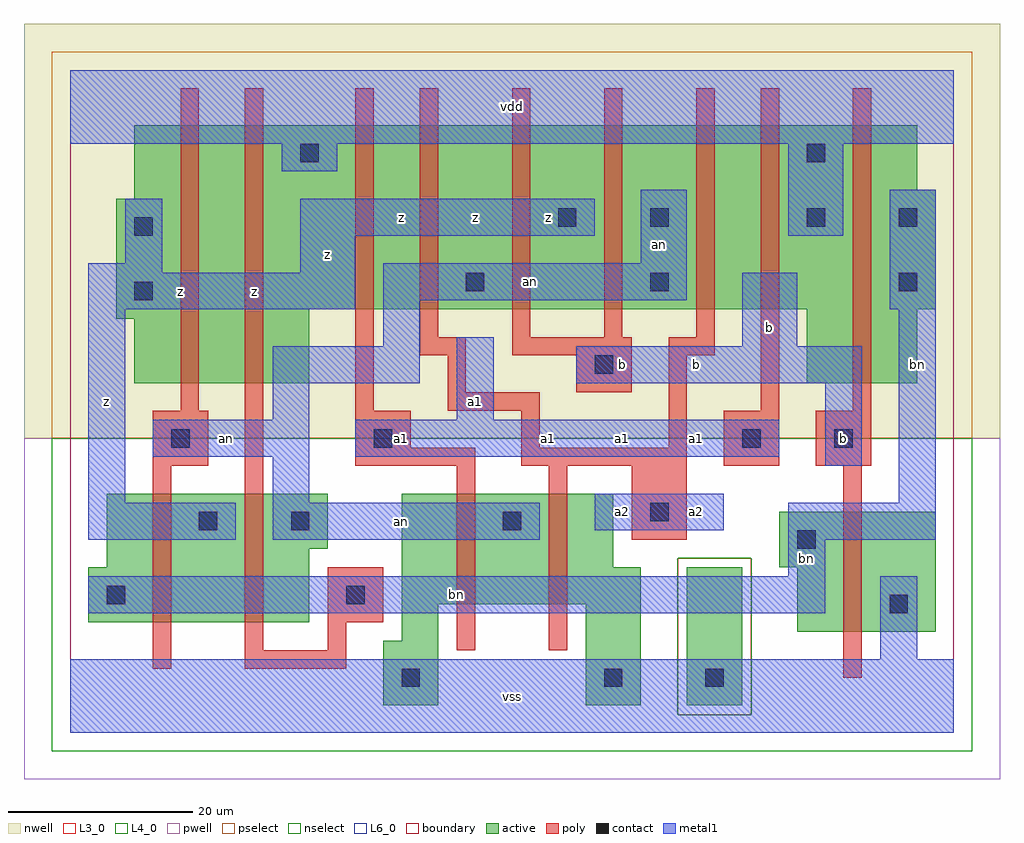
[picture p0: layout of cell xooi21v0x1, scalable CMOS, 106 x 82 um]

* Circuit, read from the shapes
.subckt xooi21v0x1 a1 a2 an b bn vdd vss z
M1 z an bn vss nfet w=14u l=2u
M2 an bn z vss nfet w=14u l=2u
M3 an a1 vss vss nfet w=12u l=2u
M4 vss a2 an vss nfet w=12u l=2u
M5 vss b bn vss nfet w=13u l=2u
M6 n1 an z n2 pfet w=28u l=2u
M7 vdd bn n1 n2 pfet w=28u l=2u
M8 n3 a1 vdd n2 pfet w=20u l=2u
M9 an a2 n3 n2 pfet w=20u l=2u
M10 z b an n2 pfet w=20u l=2u m=2
M11 n4 a2 an n2 pfet w=20u l=2u
M12 vdd a1 n4 n2 pfet w=20u l=2u
M13 bn b vdd n2 pfet w=28u l=2u
.ends

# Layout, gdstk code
import gdstk
lib = gdstk.Library(unit=1e-6, precision=1e-09)
def R(c, l, rs):  # rectangles x0, y0, x1, y1
    for r in rs: c.add(gdstk.rectangle(r[:2], r[2:], *l))
def A(c, l, x, y, w, h, nx, ny, dx, dy):  # array of equal rectangles
    R(c, l, [(x+i*dx, y+j*dy, x+i*dx+w, y+j*dy+h) for i in range(nx) for j in range(ny)])
L3_0 = (3, 0)
L4_0 = (4, 0)
L6_0 = (6, 0)
contact = (25, 0)
pwell = (41, 0)
nwell = (42, 0)
active = (43, 0)
pselect = (44, 0)
nselect = (45, 0)
poly = (46, 0)
metal1 = (49, 0)
boundary = (63, 0)

xooi21v0x1 = lib.new_cell('xooi21v0x1')
R(xooi21v0x1, L3_0, [(34,3,40,10), (56,3,62,14), (36,10,40,14), (79,11,94,18), (2,12,26,18), (36,14,62,18), (4,18,26,20), (36,18,59,26), (77,18,94,24), (4,20,28,26)])
R(xooi21v0x1, L4_0, [(7,38,26,45), (80,38,92,46), (5,45,26,46), (5,46,94,58), (7,58,94,59), (7,59,92,66)])
R(xooi21v0x1, L6_0, [(67,3,73,18)])
R(xooi21v0x1, contact, [(36,5,38,7), (58,5,60,7), (69,5,71,7), (89,13,91,15), (4,14,6,16), (30,14,32,16), (79,20,81,22), (14,22,16,24), (24,22,26,24), (47,22,49,24), (63,23,65,25), (11,31,13,33), (33,31,35,33), (73,31,75,33), (83,31,85,33), (57,39,59,41), (7,47,9,49), (43,48,45,50), (63,48,65,50), (90,48,92,50), (7,54,9,56), (53,55,55,57), (63,55,65,57), (80,55,82,57), (90,55,92,57), (25,62,27,64), (80,62,82,64)])
R(xooi21v0x1, pwell, [(-5,-5,101,32)])
R(xooi21v0x1, nwell, [(-5,32,101,77)])
R(xooi21v0x1, active, [(34,3,40,10), (56,3,62,14), (67,3,73,18), (36,10,40,14), (79,11,94,18), (2,12,26,18), (36,14,62,18), (4,18,26,20), (36,18,59,26), (77,18,94,24), (4,20,28,26), (7,38,26,45), (80,38,92,46), (5,45,26,46), (5,46,94,58), (7,58,94,59), (7,59,92,66)])
R(xooi21v0x1, pselect, [(66,2,74,19), (-2,32,98,74)])
R(xooi21v0x1, nselect, [(-2,-2,98,2), (-2,2,66,19), (74,2,98,19), (-2,19,98,32)])
A(xooi21v0x1, poly, 38, 43, 2, 27, 4, 1, 10, 0)
R(xooi21v0x1, poly, [(84,6,86,29), (9,7,11,29), (19,7,30,9), (19,9,21,70), (28,9,30,12), (42,9,44,29), (52,9,54,29), (28,12,34,18), (61,21,67,29), (9,29,15,35), (31,29,44,31), (49,29,67,31), (71,29,77,35), (81,29,87,35), (31,31,37,35), (49,31,51,35), (65,31,67,41), (12,35,14,70), (31,35,33,70), (41,35,51,37), (75,35,77,70), (85,35,87,70), (41,37,43,41), (55,37,61,41), (38,41,43,43), (48,41,61,43), (65,41,70,43)])
R(xooi21v0x1, metal1, [(0,0,96,8), (88,8,92,17), (2,13,82,17), (78,17,82,21), (2,21,18,25), (22,21,51,25), (78,21,94,25), (57,22,71,26), (2,25,6,46), (22,25,26,30), (90,25,94,46), (82,29,86,38), (9,30,26,34), (31,30,77,34), (22,34,26,38), (42,34,46,43), (22,38,38,42), (55,38,86,42), (34,42,38,47), (73,42,79,50), (2,46,31,50), (89,46,94,59), (34,47,67,51), (2,50,10,51), (25,50,31,54), (6,51,10,58), (62,51,67,59), (25,54,57,58), (78,54,84,64), (23,61,29,64), (0,64,96,72)])
R(xooi21v0x1, boundary, [(0,0,96,72)])
xooi21v0x1.add(gdstk.Label('an', (17,32), layer=49, texttype=0))
xooi21v0x1.add(gdstk.Label('an', (36,23), layer=49, texttype=0))
xooi21v0x1.add(gdstk.Label('an', (50,49), layer=49, texttype=0))
xooi21v0x1.add(gdstk.Label('an', (64,53), layer=49, texttype=0))
xooi21v0x1.add(gdstk.Label('bn', (42,15), layer=49, texttype=0))
xooi21v0x1.add(gdstk.Label('bn', (80,19), layer=49, texttype=0))
xooi21v0x1.add(gdstk.Label('bn', (92,40), layer=49, texttype=0))
xooi21v0x1.add(gdstk.Label('z', (4,36), layer=49, texttype=0))
xooi21v0x1.add(gdstk.Label('z', (20,48), layer=49, texttype=0))
xooi21v0x1.add(gdstk.Label('z', (12,48), layer=49, texttype=0))
xooi21v0x1.add(gdstk.Label('a1', (36,32), layer=49, texttype=0))
xooi21v0x1.add(gdstk.Label('a1', (44,36), layer=49, texttype=0))
xooi21v0x1.add(gdstk.Label('z', (28,52), layer=49, texttype=0))
xooi21v0x1.add(gdstk.Label('z', (44,56), layer=49, texttype=0))
xooi21v0x1.add(gdstk.Label('z', (36,56), layer=49, texttype=0))
xooi21v0x1.add(gdstk.Label('vss', (48,4), layer=49, texttype=0))
xooi21v0x1.add(gdstk.Label('a1', (52,32), layer=49, texttype=0))
xooi21v0x1.add(gdstk.Label('a1', (60,32), layer=49, texttype=0))
xooi21v0x1.add(gdstk.Label('a1', (68,32), layer=49, texttype=0))
xooi21v0x1.add(gdstk.Label('a2', (68,24), layer=49, texttype=0))
xooi21v0x1.add(gdstk.Label('a2', (60,24), layer=49, texttype=0))
xooi21v0x1.add(gdstk.Label('b', (60,40), layer=49, texttype=0))
xooi21v0x1.add(gdstk.Label('b', (68,40), layer=49, texttype=0))
xooi21v0x1.add(gdstk.Label('z', (52,56), layer=49, texttype=0))
xooi21v0x1.add(gdstk.Label('vdd', (48,68), layer=49, texttype=0))
xooi21v0x1.add(gdstk.Label('b', (84,32), layer=49, texttype=0))
xooi21v0x1.add(gdstk.Label('b', (76,44), layer=49, texttype=0))

lib.write_gds('xooi21v0x1.gds')
